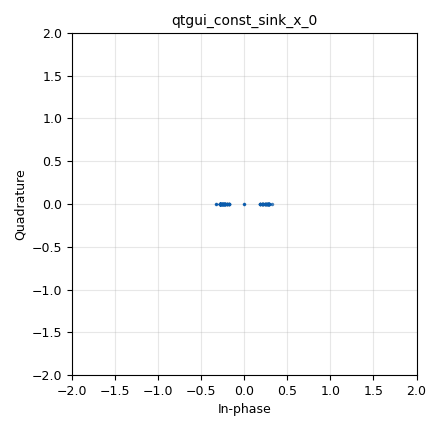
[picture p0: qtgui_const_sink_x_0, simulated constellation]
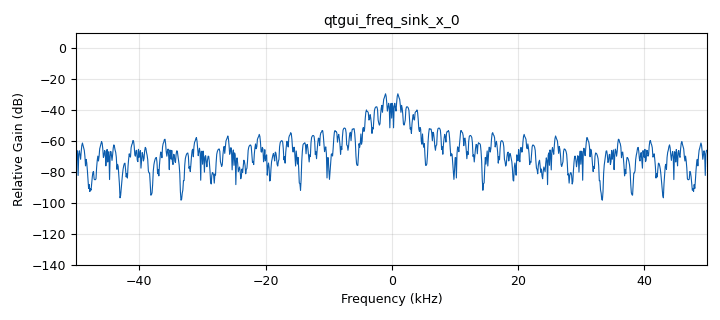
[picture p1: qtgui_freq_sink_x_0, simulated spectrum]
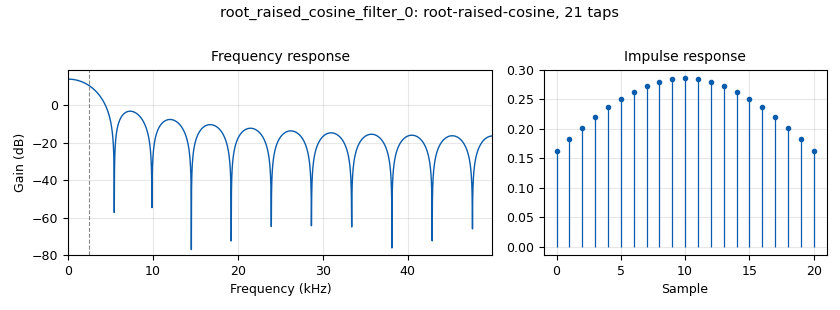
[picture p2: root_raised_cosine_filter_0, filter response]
options:
  parameters:
    author: Yara Mohsen
    generate_options: qt_gui
    id: day4_2_interpolation
    output_language: python
    title: Not titled yet
  states: {}

blocks:
- name: delta_f
  id: variable_qtgui_range
  parameters:
    label: delta_f
    orient: Qt.Horizontal
    start: '-100e-6'
    step: '1e-6'
    stop: '100e-6'
    value: '0'
  states: {}
- name: noise
  id: variable_qtgui_range
  parameters:
    label: noise
    orient: Qt.Horizontal
    start: '0'
    step: '10e-3'
    stop: '200'
    value: '0'
  states: {}
- name: samp_rate
  id: variable
  parameters:
    value: '100000'
  states: {}
- name: analog_random_source_x_0
  id: analog_random_source_x
  parameters:
    max: '2'
    min: '0'
    num_samps: '1000'
    repeat: 'True'
    type: byte
  states: {}
- name: blocks_add_const_vxx_0
  id: blocks_add_const_vxx
  parameters:
    const: '-1'
    type: float
  states: {}
- name: blocks_char_to_float_0
  id: blocks_char_to_float
  parameters:
    scale: '500e-3'
  states: {}
- name: blocks_float_to_complex_0
  id: blocks_float_to_complex
  parameters: {}
  states: {}
- name: blocks_null_source_0
  id: blocks_null_source
  parameters:
    type: float
  states: {}
- name: blocks_throttle_0
  id: blocks_throttle
  parameters:
    samples_per_second: '100000'
    type: float
  states: {}
- name: channels_channel_model_0
  id: channels_channel_model
  parameters:
    epsilon: '1.0'
    freq_offset: delta_f
    noise_voltage: noise
    seed: '0'
    taps: '1'
  states: {}
- name: interp_fir_filter_xxx_0
  id: interp_fir_filter_xxx
  parameters:
    interp: '20'
    taps: numpy.ones(100000)
    type: fff
  states: {state: disabled}
- name: qtgui_const_sink_x_0
  id: qtgui_const_sink_x
  parameters:
    size: '100'
    type: complex
  states: {}
- name: qtgui_freq_sink_x_0
  id: qtgui_freq_sink_x
  parameters:
    bw: samp_rate
    fc: '0'
    fftsize: '1024'
    type: complex
    wintype: firdes.WIN_BLACKMAN_hARRIS
  states: {}
- name: root_raised_cosine_filter_0
  id: root_raised_cosine_filter
  parameters:
    alpha: '0.3'
    gain: '5'
    interp: '20'
    ntaps: '20'
    samp_rate: samp_rate
    sym_rate: '5000'
    type: interp_fir_filter_fff
  states: {}

connections:
- [analog_random_source_x_0, '0', blocks_char_to_float_0, '0']
- [blocks_add_const_vxx_0, '0', interp_fir_filter_xxx_0, '0']
- [blocks_add_const_vxx_0, '0', root_raised_cosine_filter_0, '0']
- [blocks_char_to_float_0, '0', blocks_throttle_0, '0']
- [blocks_float_to_complex_0, '0', channels_channel_model_0, '0']
- [blocks_null_source_0, '0', blocks_float_to_complex_0, '1']
- [blocks_throttle_0, '0', blocks_add_const_vxx_0, '0']
- [channels_channel_model_0, '0', qtgui_const_sink_x_0, '0']
- [channels_channel_model_0, '0', qtgui_freq_sink_x_0, '0']
- [interp_fir_filter_xxx_0, '0', blocks_float_to_complex_0, '0']
- [root_raised_cosine_filter_0, '0', blocks_float_to_complex_0, '0']

metadata:
  file_format: 1
